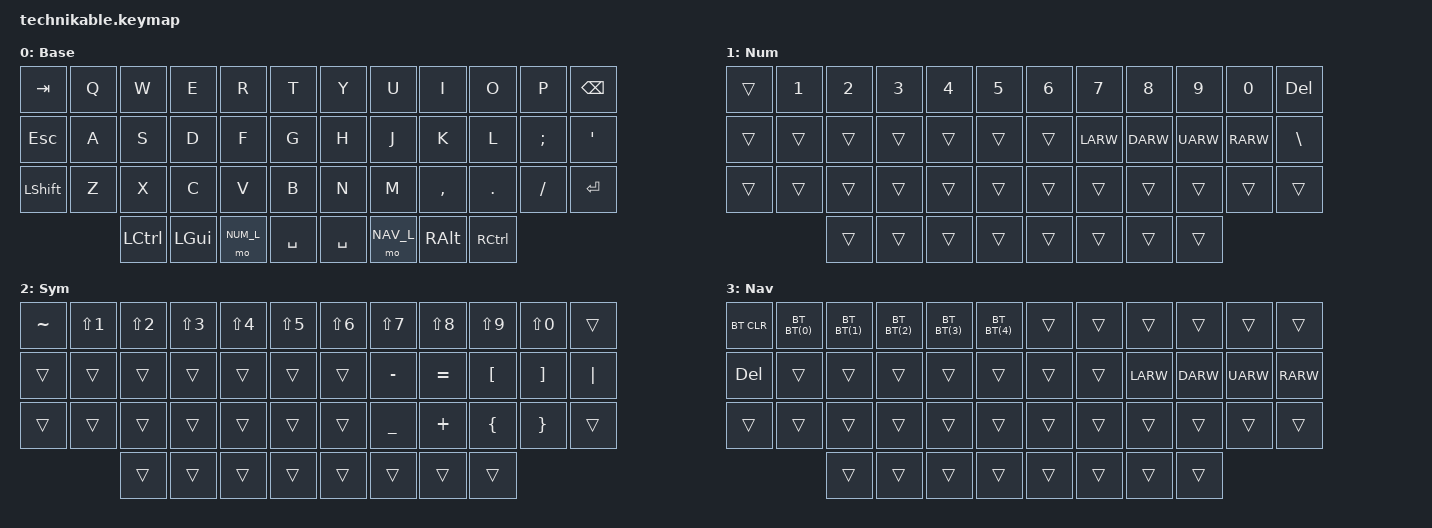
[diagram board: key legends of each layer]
/*
 * Copyright (c) 2022 Pete Johanson
 *
 * SPDX-License-Identifier: MIT
 */

#include <behaviors.dtsi>
#include <dt-bindings/zmk/keys.h>
#include <dt-bindings/zmk/bt.h>
#include <dt-bindings/zmk/outputs.h>

#define QWERTY_BASE 1

#define TBLE_ORTHO   true
// #define TBLE_MIT     true
// #define TBLE_DUAL_2U true

#define BAS_L 0
#define NUM_L 1
#define SYM_L 2
#define NAV_L 3

// Using layer taps on thumbs, having quick tap as well helps w/ repeating space/backspace
&lt { quick_tap_ms = <200>; };

#define BT(n) BT_SEL n

/ {
    chosen {
       zmk,matrix_transform =
#ifdef TBLE_DUAL_2U
                       &dual_2u_transform;
#elif defined(TBLE_MIT)
                       &mit_transform;
#else
                       &ortho_transform;
#endif
    };

    conditional_layers {
        compatible = "zmk,conditional-layers";
	tri_layer {
	    if-layers = <NUM_L SYM_L>;
	    then-layer = <NAV_L>;
	};
    };

    keymap {
        compatible = "zmk,keymap";

        base_layer {
            label = "Base";
            bindings = <
 &kp TAB    &kp Q      &kp W      &kp E       &kp R          &kp T          &kp Y            &kp U          &kp I       &kp O      &kp P         &kp BSPC
 &kp ESC    &kp A      &kp S      &kp D       &kp F          &kp G          &kp H            &kp J          &kp K       &kp L      &kp SEMI      &kp SQT
 &kp LSHFT  &kp Z      &kp X      &kp C       &kp V          &kp B          &kp N            &kp M          &kp COMMA   &kp DOT    &kp FSLH      &kp RET
                       &kp LCTRL  &kp LGUI    &mo NUM_L      &kp SPACE      &kp SPACE        &mo NAV_L      &kp RALT    &kp RCTRL
            >;
        };

        num_layer {
            label = "Num";
            bindings = <
&trans     &kp N1     &kp N2     &kp N3      &kp N4    &kp N5      &kp N6        &kp N7         &kp N8       &kp N9       &kp N0     &kp DEL
&trans     &trans     &trans     &trans      &trans    &trans      &trans        &kp LARW       &kp DARW     &kp UARW     &kp RARW   &kp BSLH
&trans     &trans     &trans     &trans      &trans    &trans      &trans        &trans         &trans       &trans       &trans     &trans
                      &trans     &trans      &trans    &trans      &trans        &trans         &trans       &trans
            >;
        };

        sym_layer {
            label = "Sym";
            bindings = <
&kp TILDE  &kp LS(N1)   &kp LS(N2) &kp LS(N3)  &kp LS(N4)   &kp LS(N5)     &kp LS(N6)     &kp LS(N7)    &kp LS(N8)       &kp LS(N9)         &kp LS(N0)       &trans
&trans     &trans       &trans     &trans      &trans       &trans         &trans         &kp MINUS     &kp EQUAL        &kp LBKT           &kp RBKT         &kp PIPE
&trans     &trans       &trans     &trans      &trans       &trans         &trans         &kp UNDER     &kp PLUS         &kp LBRC           &kp RBRC         &trans
                        &trans     &trans      &trans       &trans         &trans         &trans        &trans           &trans
            >;
        };

        nav_layer {
            label = "Nav";
            bindings = <
&bt BT_CLR &bt BT(0)  &bt BT(1)  &bt BT(2)   &bt BT(3)       &bt BT(4)    &trans       &trans      &trans      &trans     &trans     &trans     &kp DEL
&trans     &trans     &trans     &trans      &trans          &trans       &trans       &kp LARW    &kp DARW    &kp UARW   &kp RARW   &trans
&trans     &trans     &trans     &trans      &trans          &trans       &trans       &trans      &trans      &trans     &trans
                      &trans     &trans      &trans          &trans       &trans       &trans      &trans      &trans
            >;
        };

    };
};

